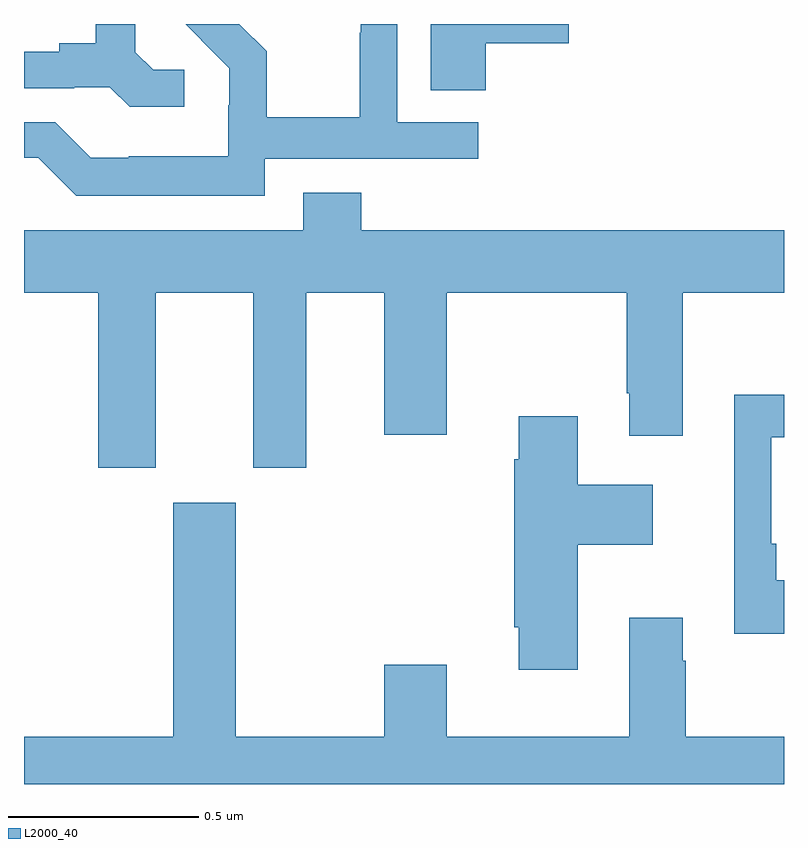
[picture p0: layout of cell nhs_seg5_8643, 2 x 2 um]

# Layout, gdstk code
import gdstk
lib = gdstk.Library(unit=1e-6, precision=1e-09)
def P(c, l, *ps):  # polygons
    for p in ps: c.add(gdstk.Polygon(p, *l))
L2000_40 = (2000, 40)

nhs_seg5_8643 = lib.new_cell('nhs_seg5_8643')
P(nhs_seg5_8643, L2000_40, [(224.634,858.444),(225.196,858.444),(225.196,858.54),(224.982,858.54),(224.982,858.799),(224.886,858.799),(224.886,858.776),(224.884,858.776),(224.884,858.553),(224.639,858.553),(224.639,858.727),(224.567,858.799),(224.425,858.799),(224.467,858.757),(224.466,858.756),(224.54,858.682),(224.54,858.585),(224.538,858.585),(224.538,858.451),(224.275,858.451),(224.275,858.447),(224.175,858.447),(224.082,858.54),(224,858.54),(224,858.447),(224.037,858.447),(224.137,858.347),(224.634,858.347)],
  [(225.215,858.749),(225.433,858.749),(225.433,858.799),(225.071,858.799),(225.071,858.625),(225.215,858.625)],
  [(224.422,858.678),(224.34,858.678),(224.293,858.725),(224.293,858.799),(224.189,858.799),(224.189,858.749),(224.093,858.749),(224.093,858.726),(224,858.726),(224,858.63),(224.132,858.63),(224.132,858.633),(224.226,858.633),(224.278,858.581),(224.422,858.581)],
  [(224.347,858.092),(224.603,858.092),(224.603,857.631),(224.743,857.631),(224.743,858.092),(224.948,858.092),(224.948,857.718),(225.112,857.718),(225.112,858.092),(225.586,858.092),(225.586,857.827),(225.593,857.827),(225.593,857.715),(225.733,857.715),(225.733,858.092),(226,858.092),(226,858.256),(224.888,858.256),(224.888,858.355),(224.735,858.355),(224.735,858.256),(224,858.256),(224,858.092),(224.195,858.092),(224.195,857.631),(224.347,857.631)],
  [(226,857.335),(225.979,857.335),(225.979,857.431),(225.966,857.431),(225.966,857.711),(226,857.711),(226,857.824),(225.869,857.824),(225.869,857.195),(226,857.195)],
  [(225.457,857.429),(225.655,857.429),(225.655,857.587),(225.457,857.587),(225.457,857.767),(225.302,857.767),(225.302,857.654),(225.29,857.654),(225.29,857.212),(225.302,857.212),(225.302,857.1),(225.457,857.1)],
  [(226,856.924),(225.741,856.924),(225.741,857.123),(225.733,857.123),(225.733,857.236),(225.593,857.236),(225.593,856.924),(225.112,856.924),(225.112,857.113),(224.948,857.113),(224.948,856.924),(224.557,856.924),(224.557,857.539),(224.393,857.539),(224.393,856.924),(224,856.924),(224,856.799),(226,856.799)])

lib.write_gds('nhs_seg5_8643.gds')
